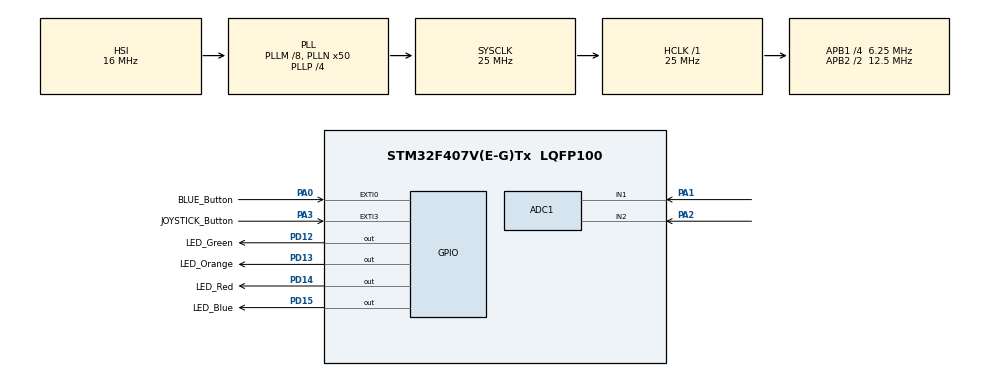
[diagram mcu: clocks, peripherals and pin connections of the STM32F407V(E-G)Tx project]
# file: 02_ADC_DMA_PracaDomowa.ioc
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Mcu.Family=STM32F4
PD12.GPIO_Label=LED_Green
Dma.ADC1.0.Instance=DMA2_Stream0
RCC.CortexFreq_Value=25000000
PD15.GPIO_Label=LED_Blue
ADC1.Rank-0\#ChannelRegularConversion=1
ADC1.ContinuousConvMode=ENABLE
SH.ADCx_IN2.0=ADC1_IN2,IN2
PA3.GPIO_PuPd=GPIO_PULLUP
NVIC.EXTI3_IRQn=true\:0\:0\:false\:false\:true\:true\:true
RCC.APB1CLKDivider=RCC_HCLK_DIV4
PA0-WKUP.GPIO_ModeDefaultEXTI=GPIO_MODE_IT_RISING
RCC.SYSCLKSource=RCC_SYSCLKSOURCE_PLLCLK
ProjectManager.StackSize=0x400
PA0-WKUP.GPIO_Label=BLUE_Button
PA0-WKUP.Signal=GPXTI0
PA3.GPIO_ModeDefaultEXTI=GPIO_MODE_IT_RISING
PD13.Signal=GPIO_Output
Dma.ADC1.0.PeriphDataAlignment=DMA_PDATAALIGN_HALFWORD
ProjectManager.TargetToolchain=STM32CubeIDE
Dma.ADC1.0.Mode=DMA_CIRCULAR
RCC.HCLKFreq_Value=25000000
Dma.ADC1.0.Priority=DMA_PRIORITY_LOW
RCC.APB2TimFreq_Value=25000000
ADC1.Channel-1\#ChannelRegularConversion=ADC_CHANNEL_2
Dma.ADC1.0.Direction=DMA_PERIPH_TO_MEMORY
NVIC.DMA2_Stream0_IRQn=true\:0\:0\:false\:false\:true\:false\:true
RCC.LSE_VALUE=32768
Dma.ADC1.0.MemDataAlignment=DMA_MDATAALIGN_HALFWORD
PA1.Signal=ADCx_IN1
RCC.AHBFreq_Value=25000000
ADC1.Channel-0\#ChannelRegularConversion=ADC_CHANNEL_1
RCC.HSE_VALUE=8000000
ADC1.ScanConvMode=ENABLE
board=STM32F407G-DISC1
RCC.VCOOutputFreq_Value=100000000
RCC.APB2Freq_Value=12500000
Dma.ADC1.0.PeriphInc=DMA_PINC_DISABLE
PD14.GPIO_Label=LED_Red
ADC1.DMAContinuousRequests=ENABLE
ADC1.NbrOfConversion=2
Mcu.Name=STM32F407V(E-G)Tx
ADC1.SamplingTime-0\#ChannelRegularConversion=ADC_SAMPLETIME_480CYCLES
PA2.Signal=ADCx_IN2
PD14.Signal=GPIO_Output
RCC.48MHZClocksFreq_Value=14285714.285714285
NVIC.EXTI0_IRQn=true\:0\:0\:false\:false\:true\:true\:true
ADC1.SamplingTime-1\#ChannelRegularConversion=ADC_SAMPLETIME_480CYCLES
RCC.SYSCLKFreq_VALUE=25000000
PD13.GPIO_Label=LED_Orange
Mcu.Package=LQFP100
ADC1.master=1
PD12.Signal=GPIO_Output
ADC1.Rank-1\#ChannelRegularConversion=2
Dma.ADC1.0.MemInc=DMA_MINC_ENABLE
ProjectManager.HeapSize=0x200
RCC.HSI_VALUE=16000000
RCC.PLLP=RCC_PLLP_DIV4
RCC.PLLQ=7
NVIC.PriorityGroup=NVIC_PRIORITYGROUP_0
ADC1.NbrOfConversionFlag=1
RCC.APB2CLKDivider=RCC_HCLK_DIV2
SH.ADCx_IN1.0=ADC1_IN1,IN1
RCC.PLLM=8
RCC.PLLN=50
RCC.APB1TimFreq_Value=12500000
Dma.ADC1.0.FIFOMode=DMA_FIFOMODE_DISABLE
Dma.Request0=ADC1
RCC.APB1Freq_Value=6250000
ADC1.ClockPrescaler=ADC_CLOCK_SYNC_PCLK_DIV8
PD15.Signal=GPIO_Output
PA3.GPIO_Label=JOYSTICK_Button
PA3.Signal=GPXTI3

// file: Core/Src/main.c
/* USER CODE BEGIN Header */
/**
  ******************************************************************************
  * @file           : main.c
  * @brief          : Main program body
  ******************************************************************************
  * @attention
  *
  * <h2><center>&copy; Copyright (c) 2021 STMicroelectronics.
  * All rights reserved.</center></h2>
  *
  * This software component is licensed by ST under BSD 3-Clause license,
  * the "License"; You may not use this file except in compliance with the
  * License. You may obtain a copy of the License at:
  *                        opensource.org/licenses/BSD-3-Clause
  *
  ******************************************************************************
  */
/* USER CODE END Header */
#include "main.h"

ADC_HandleTypeDef hadc1;
DMA_HandleTypeDef hdma_adc1;

/* USER CODE BEGIN PV */
#define ADC_RESOLUTION 4095
#define LOWER_TRESH (25*ADC_RESOLUTION)/100
#define UPPER_TRESH (75*ADC_RESOLUTION)/100
uint16_t Joystick[2];
uint8_t Tryb = 0;
uint8_t Mode = 0;
/* USER CODE END PV */

void SystemClock_Config(void);
static void MX_GPIO_Init(void);
static void MX_DMA_Init(void);
static void MX_ADC1_Init(void);
/* USER CODE BEGIN PFP */
void HAL_GPIO_EXTI_Callback(uint16_t GPIO_Pin);
/* USER CODE END PFP */

int main(void)
{

  /* MCU Configuration--------------------------------------------------------*/

  /* Reset of all peripherals, Initializes the Flash interface and the Systick. */
  HAL_Init();

  /* Configure the system clock */
  SystemClock_Config();

  /* Initialize all configured peripherals */
  MX_GPIO_Init();
  MX_DMA_Init();
  MX_ADC1_Init();
  /* USER CODE BEGIN 2 */
  HAL_ADC_Start_DMA(&hadc1, Joystick, 2);

  /* USER CODE END 2 */

  /* Infinite loop */
  /* USER CODE BEGIN WHILE */
  while (1)
  {
	  if(Mode){
			HAL_GPIO_WritePin(LED_Blue_GPIO_Port, LED_Blue_Pin, GPIO_PIN_SET);
			HAL_GPIO_WritePin(LED_Blue_GPIO_Port, LED_Red_Pin, GPIO_PIN_SET);
			HAL_GPIO_WritePin(LED_Blue_GPIO_Port, LED_Orange_Pin, GPIO_PIN_SET);
			HAL_GPIO_WritePin(LED_Blue_GPIO_Port, LED_Green_Pin, GPIO_PIN_SET);

			HAL_Delay(166);

			HAL_GPIO_WritePin(LED_Blue_GPIO_Port, LED_Blue_Pin, GPIO_PIN_RESET);
			HAL_GPIO_WritePin(LED_Blue_GPIO_Port, LED_Red_Pin, GPIO_PIN_RESET);
			HAL_GPIO_WritePin(LED_Blue_GPIO_Port, LED_Orange_Pin, GPIO_PIN_RESET);
			HAL_GPIO_WritePin(LED_Blue_GPIO_Port, LED_Green_Pin, GPIO_PIN_RESET);

			HAL_Delay(166);
	  } else{

		  //X - Axis
		  if(((Joystick[0]>UPPER_TRESH) &&(Tryb == 0)) ||((Joystick[0]<LOWER_TRESH)&&(Tryb ==1))) {
			  HAL_GPIO_WritePin(LED_Red_GPIO_Port, LED_Red_Pin, GPIO_PIN_SET);
		  } else if(((Joystick[0]>UPPER_TRESH) &&(Tryb == 1)) || ((Joystick[0]<LOWER_TRESH)&&(Tryb ==0))){
			  HAL_GPIO_WritePin(LED_Green_GPIO_Port, LED_Green_Pin, GPIO_PIN_SET);
		  } else {
			  HAL_GPIO_WritePin(LED_Red_GPIO_Port, LED_Red_Pin, GPIO_PIN_RESET);
			  HAL_GPIO_WritePin(LED_Green_GPIO_Port, LED_Green_Pin, GPIO_PIN_RESET);
		  }

		  //Y - Axis
		  if(((Joystick[1]>UPPER_TRESH) &&(Tryb == 0)) ||((Joystick[1]<LOWER_TRESH)&&(Tryb ==1))) {
			  HAL_GPIO_WritePin(LED_Blue_GPIO_Port, LED_Blue_Pin, GPIO_PIN_SET);
		  } else if(((Joystick[1]>UPPER_TRESH) &&(Tryb == 1)) ||((Joystick[1]<LOWER_TRESH)&&(Tryb ==0))){
			  HAL_GPIO_WritePin(LED_Orange_GPIO_Port, LED_Orange_Pin, GPIO_PIN_SET);
		  } else {
			  HAL_GPIO_WritePin(LED_Blue_GPIO_Port, LED_Blue_Pin, GPIO_PIN_RESET);
			  HAL_GPIO_WritePin(LED_Orange_GPIO_Port, LED_Orange_Pin, GPIO_PIN_RESET);
		  }

	  }

    /* USER CODE END WHILE */

    /* USER CODE BEGIN 3 */
//	  HAL_GPIO_WritePin(LED_Blue_GPIO_Port, LED_Blue_Pin, GPIO_PIN_SET);
  }
  /* USER CODE END 3 */
}

void SystemClock_Config(void)
{
  RCC_OscInitTypeDef RCC_OscInitStruct = {0};
  RCC_ClkInitTypeDef RCC_ClkInitStruct = {0};

  /** Configure the main internal regulator output voltage
  */
  __HAL_RCC_PWR_CLK_ENABLE();
  __HAL_PWR_VOLTAGESCALING_CONFIG(PWR_REGULATOR_VOLTAGE_SCALE1);
  /** Initializes the RCC Oscillators according to the specified parameters
  * in the RCC_OscInitTypeDef structure.
  */
  RCC_OscInitStruct.OscillatorType = RCC_OSCILLATORTYPE_HSI;
  RCC_OscInitStruct.HSIState = RCC_HSI_ON;
  RCC_OscInitStruct.HSICalibrationValue = RCC_HSICALIBRATION_DEFAULT;
  RCC_OscInitStruct.PLL.PLLState = RCC_PLL_ON;
  RCC_OscInitStruct.PLL.PLLSource = RCC_PLLSOURCE_HSI;
  RCC_OscInitStruct.PLL.PLLM = 8;
  RCC_OscInitStruct.PLL.PLLN = 50;
  RCC_OscInitStruct.PLL.PLLP = RCC_PLLP_DIV4;
  RCC_OscInitStruct.PLL.PLLQ = 7;
  if (HAL_RCC_OscConfig(&RCC_OscInitStruct) != HAL_OK)
  {
    Error_Handler();
  }
  /** Initializes the CPU, AHB and APB buses clocks
  */
  RCC_ClkInitStruct.ClockType = RCC_CLOCKTYPE_HCLK|RCC_CLOCKTYPE_SYSCLK
                              |RCC_CLOCKTYPE_PCLK1|RCC_CLOCKTYPE_PCLK2;
  RCC_ClkInitStruct.SYSCLKSource = RCC_SYSCLKSOURCE_PLLCLK;
  RCC_ClkInitStruct.AHBCLKDivider = RCC_SYSCLK_DIV1;
  RCC_ClkInitStruct.APB1CLKDivider = RCC_HCLK_DIV4;
  RCC_ClkInitStruct.APB2CLKDivider = RCC_HCLK_DIV2;

  if (HAL_RCC_ClockConfig(&RCC_ClkInitStruct, FLASH_LATENCY_0) != HAL_OK)
  {
    Error_Handler();
  }
}

static void MX_ADC1_Init(void)
{

  ADC_ChannelConfTypeDef sConfig = {0};

  /** Configure the global features of the ADC (Clock, Resolution, Data Alignment and number of conversion)
  */
  hadc1.Instance = ADC1;
  hadc1.Init.ClockPrescaler = ADC_CLOCK_SYNC_PCLK_DIV8;
  hadc1.Init.Resolution = ADC_RESOLUTION_12B;
  hadc1.Init.ScanConvMode = ENABLE;
  hadc1.Init.ContinuousConvMode = ENABLE;
  hadc1.Init.DiscontinuousConvMode = DISABLE;
  hadc1.Init.ExternalTrigConvEdge = ADC_EXTERNALTRIGCONVEDGE_NONE;
  hadc1.Init.ExternalTrigConv = ADC_SOFTWARE_START;
  hadc1.Init.DataAlign = ADC_DATAALIGN_RIGHT;
  hadc1.Init.NbrOfConversion = 2;
  hadc1.Init.DMAContinuousRequests = ENABLE;
  hadc1.Init.EOCSelection = ADC_EOC_SINGLE_CONV;
  if (HAL_ADC_Init(&hadc1) != HAL_OK)
  {
    Error_Handler();
  }
  /** Configure for the selected ADC regular channel its corresponding rank in the sequencer and its sample time.
  */
  sConfig.Channel = ADC_CHANNEL_1;
  sConfig.Rank = 1;
  sConfig.SamplingTime = ADC_SAMPLETIME_480CYCLES;
  if (HAL_ADC_ConfigChannel(&hadc1, &sConfig) != HAL_OK)
  {
    Error_Handler();
  }
  /** Configure for the selected ADC regular channel its corresponding rank in the sequencer and its sample time.
  */
  sConfig.Channel = ADC_CHANNEL_2;
  sConfig.Rank = 2;
  if (HAL_ADC_ConfigChannel(&hadc1, &sConfig) != HAL_OK)
  {
    Error_Handler();
  }

}

static void MX_DMA_Init(void)
{

  /* DMA controller clock enable */
  __HAL_RCC_DMA2_CLK_ENABLE();

  /* DMA interrupt init */
  /* DMA2_Stream0_IRQn interrupt configuration */
  HAL_NVIC_SetPriority(DMA2_Stream0_IRQn, 0, 0);
  HAL_NVIC_EnableIRQ(DMA2_Stream0_IRQn);

}

static void MX_GPIO_Init(void)
{
  GPIO_InitTypeDef GPIO_InitStruct = {0};

  /* GPIO Ports Clock Enable */
  __HAL_RCC_GPIOA_CLK_ENABLE();
  __HAL_RCC_GPIOD_CLK_ENABLE();

  /*Configure GPIO pin Output Level */
  HAL_GPIO_WritePin(GPIOD, LED_Green_Pin|LED_Orange_Pin|LED_Red_Pin|LED_Blue_Pin, GPIO_PIN_RESET);

  /*Configure GPIO pin : BLUE_Button_Pin */
  GPIO_InitStruct.Pin = BLUE_Button_Pin;
  GPIO_InitStruct.Mode = GPIO_MODE_IT_RISING;
  GPIO_InitStruct.Pull = GPIO_NOPULL;
  HAL_GPIO_Init(BLUE_Button_GPIO_Port, &GPIO_InitStruct);

  /*Configure GPIO pin : JOYSTICK_Button_Pin */
  GPIO_InitStruct.Pin = JOYSTICK_Button_Pin;
  GPIO_InitStruct.Mode = GPIO_MODE_IT_RISING;
  GPIO_InitStruct.Pull = GPIO_PULLUP;
  HAL_GPIO_Init(JOYSTICK_Button_GPIO_Port, &GPIO_InitStruct);

  /*Configure GPIO pins : LED_Green_Pin LED_Orange_Pin LED_Red_Pin LED_Blue_Pin */
  GPIO_InitStruct.Pin = LED_Green_Pin|LED_Orange_Pin|LED_Red_Pin|LED_Blue_Pin;
  GPIO_InitStruct.Mode = GPIO_MODE_OUTPUT_PP;
  GPIO_InitStruct.Pull = GPIO_NOPULL;
  GPIO_InitStruct.Speed = GPIO_SPEED_FREQ_LOW;
  HAL_GPIO_Init(GPIOD, &GPIO_InitStruct);

  /* EXTI interrupt init*/
  HAL_NVIC_SetPriority(EXTI0_IRQn, 0, 0);
  HAL_NVIC_EnableIRQ(EXTI0_IRQn);

  HAL_NVIC_SetPriority(EXTI3_IRQn, 0, 0);
  HAL_NVIC_EnableIRQ(EXTI3_IRQn);

}

/* USER CODE BEGIN 4 */
void HAL_GPIO_EXTI_Callback(uint16_t GPIO_Pin){
	if(GPIO_Pin == JOYSTICK_Button_Pin){
		if(Tryb){
			Tryb = 0;
		}else{
			Tryb++;
		}
	}
	if(GPIO_Pin == BLUE_Button_Pin){
			if(Mode){
				Mode = 0;
			}else{
				Mode++;
			}
		}
}
/* USER CODE END 4 */

void Error_Handler(void)
{
  __disable_irq();
  while (1)
  {
  }
}

/************************ (C) COPYRIGHT STMicroelectronics *****END OF FILE****/
